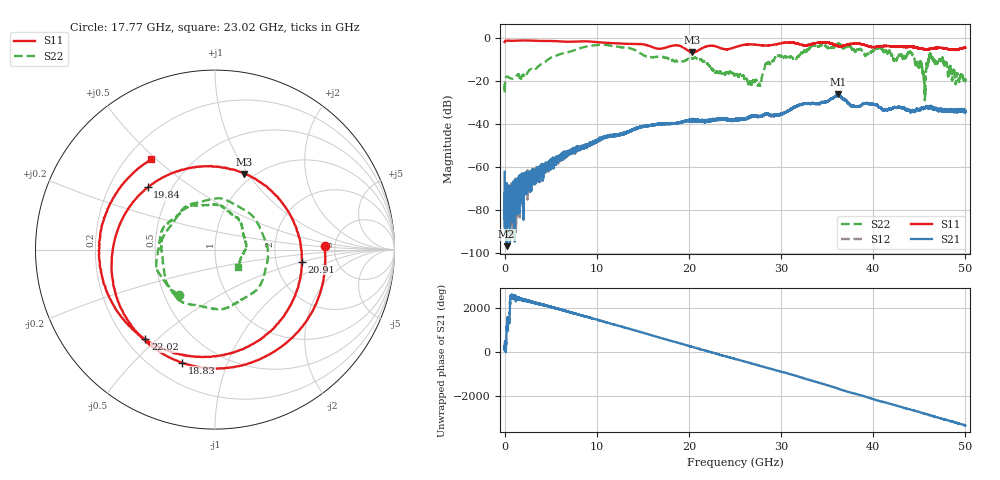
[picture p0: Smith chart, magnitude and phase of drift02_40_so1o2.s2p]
!Created with skrf (http://scikit-rf.org).
# Hz S RI R 50.0
!freq ReS11 ImS11 ReS21 ImS21 ReS12 ImS12 ReS22 ImS22
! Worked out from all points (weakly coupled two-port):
!   10001 points, 300 kHz to 50 GHz, reference 50 ohm
!   highest |S21| = -26.29 dB at 36.14 GHz (marker M1); lowest = -97.0 dB at 215.3 MHz (marker M2)
!   lowest |S11| = -6.9 dB at 20.33 GHz (marker M3), VSWR 2.64, Z = 45.4 + j47.9 ohm
!   |S11| at or under -10 dB: nowhere
!   |S22| runs from -29.2 to -2.6 dB; largest |S21 - S12| = 0.0053
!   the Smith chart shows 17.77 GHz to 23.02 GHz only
!   S11 on the Smith chart (normalised r, x): 17.77 GHz: 4.14, +0.23; 18.83 GHz: 0.32, -0.70; 19.84 GHz: 0.37, +0.34; 20.91 GHz: 2.81, -0.49; 22.02 GHz: 0.28, -0.46; 23.02 GHz: 0.30, +0.48
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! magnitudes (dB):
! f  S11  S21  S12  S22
! 300 kHz  -2.1  -62.4  -71.7  -21.4
! 215.3 MHz  -1.4  -97.0  -79.7  -18.3
! 8.335 GHz  -1.7  -51.0  -51.8  -4.7
! 16.67 GHz  -5.2  -40.1  -40.3  -9.0
! 17.77 GHz  -4.3  -40.1  -40.2  -9.8
! 18.83 GHz  -3.7  -39.7  -39.6  -11.1
! 19.84 GHz  -5.8  -38.8  -38.6  -10.1
! 20.33 GHz  -6.9  -38.5  -38.2  -9.6
! 20.91 GHz  -6.2  -38.8  -38.7  -9.4
! 22.02 GHz  -4.0  -38.5  -38.9  -12.0
! 23.02 GHz  -4.2  -37.8  -37.9  -15.8
! 25 GHz  -4.5  -38.0  -38.4  -17.7
! 27.62 GHz  -3.5  -36.8  -36.7  -21.6
! 28.43 GHz  -3.7  -35.8  -35.7  -12.2
! 29.55 GHz  -3.0  -35.9  -36.3  -8.8
! 33.34 GHz  -3.0  -30.6  -30.6  -3.8
! 36.14 GHz  -3.9  -26.3  -26.9  -3.2
! 41.67 GHz  -3.9  -33.3  -33.6  -6.0
! 44.13 GHz  -4.1  -34.4  -34.4  -7.1
! 45.5 GHz  -5.3  -33.2  -32.9  -18.1
! 46.27 GHz  -5.3  -31.9  -32.2  -8.2
! 50 GHz  -4.7  -34.6  -33.9  -19.6
